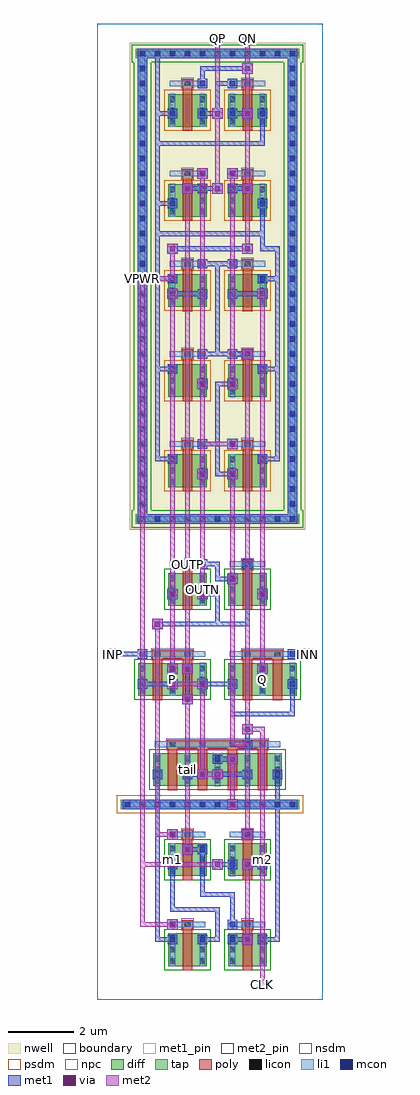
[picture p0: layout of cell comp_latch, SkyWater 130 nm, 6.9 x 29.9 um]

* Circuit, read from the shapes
.subckt comp_latch CLK INN INP OUTN OUTP P Q QN QP VGND VPWR m1 m2 tail
XM1 P INP tail VGND sky130_fd_pr__nfet_01v8 w=1 l=0.3 m=2
XM2 tail CLK VGND VGND sky130_fd_pr__nfet_01v8 w=1 l=0.3 m=4
XM3 m1 QN VGND VGND sky130_fd_pr__nfet_01v8 w=1 l=0.3
XM4 QP OUTN m1 VGND sky130_fd_pr__nfet_01v8 w=1 l=0.3
XM5 OUTN OUTP P VGND sky130_fd_pr__nfet_01v8 w=1 l=0.3
XM6 VGND QP m2 VGND sky130_fd_pr__nfet_01v8 w=1 l=0.3
XM7 m2 OUTP QN VGND sky130_fd_pr__nfet_01v8 w=1 l=0.3
XM8 Q INN tail VGND sky130_fd_pr__nfet_01v8 w=1 l=0.3 m=2
XM9 Q OUTN OUTP VGND sky130_fd_pr__nfet_01v8 w=1 l=0.3
XM10 OUTN OUTP VPWR VPWR sky130_fd_pr__pfet_01v8 w=1 l=0.3
XM11 OUTN CLK VPWR VPWR sky130_fd_pr__pfet_01v8 w=1 l=0.3
XM12 P CLK VPWR VPWR sky130_fd_pr__pfet_01v8 w=1 l=0.3
XM13 QP OUTN VPWR VPWR sky130_fd_pr__pfet_01v8 w=1 l=0.3
XM14 QP QN VPWR VPWR sky130_fd_pr__pfet_01v8 w=1 l=0.3
XM15 VPWR OUTN OUTP VPWR sky130_fd_pr__pfet_01v8 w=1 l=0.3
XM16 VPWR CLK OUTP VPWR sky130_fd_pr__pfet_01v8 w=1 l=0.3
XM17 VPWR CLK Q VPWR sky130_fd_pr__pfet_01v8 w=1 l=0.3
XM18 VPWR OUTP QN VPWR sky130_fd_pr__pfet_01v8 w=1 l=0.3
XM19 VPWR QP QN VPWR sky130_fd_pr__pfet_01v8 w=1 l=0.3
.ends

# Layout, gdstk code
import gdstk
lib = gdstk.Library(unit=1e-6, precision=1e-09)
def R(c, l, rs):  # rectangles x0, y0, x1, y1
    for r in rs: c.add(gdstk.rectangle(r[:2], r[2:], *l))
def A(c, l, x, y, w, h, nx, ny, dx, dy):  # array of equal rectangles
    R(c, l, [(x+i*dx, y+j*dy, x+i*dx+w, y+j*dy+h) for i in range(nx) for j in range(ny)])
nwell = (64, 20)
diff = (65, 20)
tap = (65, 44)
poly = (66, 20)
licon = (66, 44)
li1 = (67, 20)
mcon = (67, 44)
met1_pin = (68, 16)
met1 = (68, 20)
via = (68, 44)
met2_pin = (69, 16)
met2 = (69, 20)
nsdm = (93, 44)
psdm = (94, 20)
npc = (95, 20)
boundary = (235, 4)

comp_latch = lib.new_cell('comp_latch')
R(comp_latch, nwell, [(0.995,14.395,6.365,29.305)])
A(comp_latch, diff, 2.175, 15.7, 1.17, 1, 1, 5, 0, 2.76)
A(comp_latch, diff, 4.015, 15.7, 1.17, 1, 1, 5, 0, 2.76)
R(comp_latch, diff, [(2.175,1.025,3.345,2.025), (4.015,1.025,5.185,2.025), (2.175,3.785,3.345,4.785), (4.015,3.785,5.185,4.785), (1.715,6.545,5.645,7.545), (1.255,9.305,3.345,10.305), (4.015,9.305,6.105,10.305), (2.175,12.065,3.345,13.065), (4.015,12.065,5.185,13.065)])
R(comp_latch, tap, [(0.715,5.835,6.185,6.125), (1.175,14.575,6.185,14.865), (1.235,14.575,1.525,29.125), (5.835,14.575,6.125,29.125), (1.175,28.835,6.185,29.125)])
A(comp_latch, poly, 2.15, 6.415, 0.3, 1.405, 4, 1, 0.92, 0)
A(comp_latch, poly, 2.61, 15.57, 0.3, 1.45, 1, 5, 0, 2.76)
A(comp_latch, poly, 4.45, 15.57, 0.3, 1.45, 1, 5, 0, 2.76)
A(comp_latch, poly, 2.595, 16.885, 0.33, 0.27, 1, 5, 0, 2.76)
A(comp_latch, poly, 4.435, 16.885, 0.33, 0.27, 1, 5, 0, 2.76)
R(comp_latch, poly, [(2.61,0.895,2.91,2.3), (4.45,0.895,4.75,2.3), (2.595,2.165,2.925,2.435), (4.435,2.165,4.765,2.435), (2.61,3.655,2.91,5.06), (4.45,3.655,4.75,5.06), (2.595,4.925,2.925,5.195), (4.435,4.925,4.765,5.195), (2.135,7.685,5.225,7.955), (1.69,9.175,1.99,10.58), (2.61,9.175,2.91,10.58), (4.45,9.175,4.75,10.58), (5.37,9.175,5.67,10.58), (1.675,10.445,2.925,10.715), (4.435,10.445,5.685,10.715), (2.61,11.935,2.91,13.34), (4.45,11.935,4.75,13.34), (2.595,13.205,2.925,13.475), (4.435,13.205,4.765,13.475)])
A(comp_latch, licon, 2.215, 1.1, 0.17, 0.17, 4, 3, 0.92, 0.34)
A(comp_latch, licon, 2.215, 3.86, 0.17, 0.17, 4, 3, 0.92, 0.34)
A(comp_latch, licon, 0.835, 5.895, 0.17, 0.17, 12, 1, 0.46, 0)
A(comp_latch, licon, 1.755, 6.62, 0.17, 0.17, 5, 3, 0.92, 0.34)
A(comp_latch, licon, 2.215, 7.735, 0.17, 0.17, 4, 2, 0.92, 4.405)
A(comp_latch, licon, 1.295, 9.38, 0.17, 0.17, 6, 3, 0.92, 0.34)
A(comp_latch, licon, 2.215, 12.48, 0.17, 0.17, 4, 2, 0.92, 0.34)
A(comp_latch, licon, 1.295, 14.635, 0.17, 0.17, 11, 2, 0.46, 14.26)
A(comp_latch, licon, 1.295, 15.095, 0.17, 0.17, 1, 30, 0, 0.46)
A(comp_latch, licon, 5.895, 15.095, 0.17, 0.17, 1, 30, 0, 0.46)
A(comp_latch, licon, 2.215, 15.775, 0.17, 0.17, 4, 3, 0.92, 0.34)
A(comp_latch, licon, 2.675, 16.935, 0.17, 0.17, 1, 5, 0, 2.76)
A(comp_latch, licon, 4.515, 16.935, 0.17, 0.17, 1, 5, 0, 2.76)
A(comp_latch, licon, 2.215, 18.535, 0.17, 0.17, 4, 3, 0.92, 0.34)
A(comp_latch, licon, 2.215, 21.295, 0.17, 0.17, 4, 3, 0.92, 0.34)
A(comp_latch, licon, 2.215, 24.055, 0.17, 0.17, 4, 3, 0.92, 0.34)
A(comp_latch, licon, 2.215, 26.815, 0.17, 0.17, 4, 3, 0.92, 0.34)
R(comp_latch, licon, [(2.675,2.215,2.845,2.385), (4.515,2.215,4.685,2.385), (2.675,4.975,2.845,5.145), (4.515,4.975,4.685,5.145), (1.755,10.495,1.925,10.665), (2.675,10.495,2.845,10.665), (4.515,10.495,4.685,10.665), (5.435,10.495,5.605,10.665), (2.675,13.255,2.845,13.425), (4.515,13.255,4.685,13.425)])
A(comp_latch, li1, 2.215, 1.02, 0.17, 1.01, 4, 2, 0.92, 2.76)
A(comp_latch, li1, 1.755, 6.54, 0.17, 1.01, 5, 1, 0.92, 0)
A(comp_latch, li1, 1.295, 9.3, 0.17, 1.01, 6, 1, 0.92, 0)
A(comp_latch, li1, 2.215, 12.06, 0.17, 1.01, 4, 2, 0.92, 3.635)
A(comp_latch, li1, 2.215, 16.935, 1.09, 0.17, 1, 5, 0, 2.76)
A(comp_latch, li1, 4.055, 16.935, 1.09, 0.17, 1, 5, 0, 2.76)
A(comp_latch, li1, 2.215, 18.455, 0.17, 1.01, 4, 4, 0.92, 2.76)
R(comp_latch, li1, [(2.215,2.215,3.305,2.385), (4.055,2.215,5.145,2.385), (2.215,4.975,3.305,5.145), (4.055,4.975,5.145,5.145), (0.755,5.895,6.145,6.065), (1.755,7.735,5.605,7.905), (1.295,10.495,3.305,10.665), (4.055,10.495,6.065,10.665), (2.215,13.255,3.305,13.425), (4.055,13.255,5.145,13.425), (1.215,14.635,6.145,14.805), (1.295,14.635,1.465,29.065), (5.895,14.635,6.065,29.065), (1.215,28.895,6.145,29.065)])
A(comp_latch, mcon, 2.215, 1.755, 0.17, 0.17, 4, 1, 0.92, 0)
A(comp_latch, mcon, 0.835, 5.895, 0.17, 0.17, 12, 1, 0.46, 0)
A(comp_latch, mcon, 4.055, 9.575, 0.17, 0.17, 1, 3, 0, 3.22)
A(comp_latch, mcon, 1.295, 14.635, 0.17, 0.17, 11, 2, 0.46, 14.26)
A(comp_latch, mcon, 1.295, 15.095, 0.17, 0.17, 1, 26, 0, 0.46)
A(comp_latch, mcon, 5.895, 15.095, 0.17, 0.17, 1, 26, 0, 0.46)
A(comp_latch, mcon, 2.215, 16.475, 0.17, 0.17, 1, 3, 0, 2.76)
A(comp_latch, mcon, 4.975, 16.475, 0.17, 0.17, 1, 3, 0, 2.76)
A(comp_latch, mcon, 1.295, 27.055, 0.17, 0.17, 6, 1, 0.92, 0)
A(comp_latch, mcon, 1.295, 27.515, 0.17, 0.17, 1, 3, 0, 0.46)
A(comp_latch, mcon, 5.895, 27.515, 0.17, 0.17, 1, 3, 0, 0.46)
R(comp_latch, mcon, [(2.215,2.215,2.385,2.385), (4.055,2.215,4.225,2.385), (2.215,4.055,2.385,4.225), (4.055,4.055,4.225,4.225), (4.975,4.055,5.145,4.225), (3.135,4.515,3.305,4.685), (2.215,4.975,2.385,5.145), (4.515,4.975,4.685,5.145), (1.755,6.815,1.925,6.985), (2.675,6.815,2.845,6.985), (4.515,6.815,4.685,6.985), (5.435,6.815,5.605,6.985), (3.595,7.275,3.765,7.445), (4.515,7.735,4.685,7.905), (1.295,9.575,1.465,9.745), (3.135,9.575,3.305,9.745), (5.895,9.575,6.065,9.745), (2.215,10.035,2.385,10.205), (4.975,10.035,5.145,10.205), (1.295,10.495,1.465,10.665), (5.895,10.495,6.065,10.665), (2.215,12.335,2.385,12.505), (3.135,12.335,3.305,12.505), (4.975,12.335,5.145,12.505), (3.135,13.255,3.305,13.425), (4.515,13.255,4.685,13.425), (3.135,16.015,3.305,16.185), (3.135,16.935,3.305,17.105), (4.055,16.935,4.225,17.105), (3.135,18.775,3.305,18.945), (4.055,18.775,4.225,18.945), (3.135,19.695,3.305,19.865), (4.055,19.695,4.225,19.865), (3.135,21.535,3.305,21.705), (4.055,21.535,4.225,21.705), (3.135,22.455,3.305,22.625), (4.055,22.455,4.225,22.625), (2.215,24.295,2.385,24.465), (4.975,24.295,5.145,24.465), (3.135,24.755,3.305,24.925), (4.055,24.755,4.225,24.925), (3.135,25.215,3.305,25.385), (4.055,25.215,4.225,25.385), (3.135,27.975,3.305,28.145), (4.055,27.975,4.225,28.145)])
R(comp_latch, met1_pin, [(1.77,1.77,1.91,6.05), (1.31,22.01,1.45,22.15)])
A(comp_latch, met1, 2.155, 1.695, 0.29, 0.29, 4, 2, 0.92, 25.3)
A(comp_latch, met1, 3.15, 1.77, 0.6, 0.14, 3, 1, 0.92, 0)
A(comp_latch, met1, 3.06, 6.74, 0.32, 0.32, 1, 3, 0, 2.76)
A(comp_latch, met1, 3.995, 9.515, 0.29, 0.29, 1, 3, 0, 3.22)
A(comp_latch, met1, 2.155, 16.415, 0.29, 0.29, 1, 3, 0, 2.76)
A(comp_latch, met1, 4.915, 16.415, 0.29, 0.29, 1, 3, 0, 2.76)
A(comp_latch, met1, 4.99, 16.49, 0.6, 0.14, 1, 3, 0, 2.76)
A(comp_latch, met1, 3.15, 22.47, 0.6, 0.14, 1, 3, 0, 2.3)
A(comp_latch, met1, 2.6, 24.68, 0.32, 0.32, 3, 1, 0.92, 0)
R(comp_latch, met1, [(4.44,1.68,4.76,2), (1.77,1.77,2.37,1.91), (1.77,1.77,1.91,6.05), (3.61,1.77,3.75,2.83), (5.45,1.77,5.59,6.05), (2.14,2.14,2.46,2.46), (2.155,2.155,2.445,2.445), (3.995,2.155,4.285,2.445), (4.07,2.23,4.21,3.29), (2.23,2.69,3.75,2.83), (2.23,2.69,2.37,4.21), (3.15,3.15,4.21,3.29), (3.15,3.15,3.29,4.67), (3.52,3.98,3.84,4.3), (4.44,3.98,4.76,4.3), (2.155,3.995,2.445,4.285), (3.995,3.995,4.285,4.285), (4.915,3.995,5.205,4.285), (3.61,4.07,4.21,4.21), (4.53,4.07,5.13,4.21), (2.6,4.44,2.92,4.76), (3.075,4.455,3.365,4.745), (2.69,4.53,3.29,4.67), (2.14,4.9,2.46,5.22), (4.44,4.9,4.76,5.22), (2.155,4.915,2.445,5.205), (4.455,4.915,4.745,5.205), (3.98,5.82,4.3,6.14), (0.775,5.835,6.125,6.125), (1.77,5.91,1.91,6.97), (1.77,5.91,4.21,6.05), (4.07,5.91,4.21,6.05), (4.07,5.91,5.59,6.05), (5.45,5.91,5.59,6.97), (3.52,6.74,3.84,7.06), (1.695,6.755,1.985,7.045), (2.615,6.755,2.905,7.045), (4.455,6.755,4.745,7.045), (5.375,6.755,5.665,7.045), (2.69,6.83,3.29,6.97), (3.61,6.83,4.67,6.97), (3.98,7.2,4.3,7.52), (3.535,7.215,3.825,7.505), (3.61,7.29,4.21,7.43), (4.455,7.675,4.745,7.965), (4.53,7.75,4.67,8.35), (4.44,8.12,4.76,8.44), (4.07,8.67,4.21,9.73), (4.07,8.67,6.05,8.81), (5.91,8.67,6.05,9.73), (2.6,9.04,2.92,9.36), (2.69,9.13,2.83,10.19), (2.14,9.5,2.46,9.82), (1.235,9.515,1.525,9.805), (3.075,9.515,3.365,9.805), (5.835,9.515,6.125,9.805), (1.31,9.59,2.37,9.73), (3.15,9.59,4.21,9.73), (2.14,9.96,2.46,10.28), (2.6,9.96,2.92,10.28), (4.9,9.96,5.22,10.28), (2.155,9.975,2.445,10.265), (4.915,9.975,5.205,10.265), (0.3,10.42,0.62,10.74), (6.28,10.42,6.6,10.74), (1.235,10.435,1.525,10.725), (5.835,10.435,6.125,10.725), (0.39,10.51,1.45,10.65), (5.91,10.51,6.51,10.65), (1.68,11.34,2,11.66), (1.77,11.43,3.75,11.57), (3.61,11.43,4.67,11.57), (3.61,11.43,3.75,12.49), (4.53,11.43,4.67,13.41), (2.14,12.26,2.46,12.58), (4.9,12.26,5.22,12.58), (2.155,12.275,2.445,12.565), (3.075,12.275,3.365,12.565), (4.915,12.275,5.205,12.565), (3.15,12.35,3.75,12.49), (3.98,12.72,4.3,13.04), (3.61,12.81,4.21,12.95), (3.61,12.81,3.75,13.41), (3.075,13.195,3.365,13.485), (4.455,13.195,4.745,13.485), (3.15,13.27,3.75,13.41), (1.235,14.575,1.525,29.125), (1.235,14.575,6.125,14.865), (5.835,14.575,6.125,29.125), (3.06,15.94,3.38,16.26), (3.98,15.94,4.3,16.26), (3.075,15.955,3.365,16.245), (3.61,16.03,4.21,16.17), (3.61,16.03,3.75,17.09), (1.77,16.49,2.37,16.63), (1.77,16.49,1.91,19.39), (5.45,16.49,5.59,19.39), (3.98,16.86,4.3,17.18), (3.075,16.875,3.365,17.165), (3.995,16.875,4.285,17.165), (3.15,16.95,3.75,17.09), (3.61,16.95,3.75,18.93), (3.06,18.7,3.38,19.02), (3.98,18.7,4.3,19.02), (3.075,18.715,3.365,19.005), (3.995,18.715,4.285,19.005), (3.61,18.79,4.21,18.93), (1.77,19.25,2.37,19.39), (1.77,19.25,1.91,22.15), (5.45,19.25,5.59,22.15), (4.44,19.62,4.76,19.94), (3.075,19.635,3.365,19.925), (3.995,19.635,4.285,19.925), (3.15,19.71,4.21,19.85), (3.61,19.71,3.75,22.61), (4.07,19.71,4.67,19.85), (2.14,21.46,2.46,21.78), (4.9,21.46,5.22,21.78), (3.075,21.475,3.365,21.765), (3.995,21.475,4.285,21.765), (2.23,21.55,3.29,21.69), (4.07,21.55,5.13,21.69), (1.31,22.01,2.37,22.15), (1.31,22.01,1.45,22.15), (1.77,22.01,1.91,24.45), (5.45,22.01,5.59,23.07), (3.075,22.395,3.365,22.685), (3.995,22.395,4.285,22.685), (3.61,22.47,4.21,22.61), (2.14,22.84,2.46,23.16), (4.44,22.84,4.76,23.16), (2.23,22.93,4.67,23.07), (4.99,22.93,5.59,23.07), (4.99,22.93,5.13,23.53), (1.77,23.39,5.13,23.53), (4.99,23.39,5.13,24.45), (2.155,24.235,2.445,24.525), (4.915,24.235,5.205,24.525), (1.77,24.31,2.37,24.45), (1.77,24.31,1.91,27.21), (3.075,24.695,3.365,24.985), (3.995,24.695,4.285,24.985), (2.69,24.77,3.29,24.91), (4.07,24.77,4.67,24.91), (3.06,25.14,3.38,25.46), (3.98,25.14,4.3,25.46), (3.075,25.155,3.365,25.445), (3.995,25.155,4.285,25.445), (1.77,26.15,5.13,26.29), (4.99,26.15,5.13,27.21), (3.52,26.98,3.84,27.3), (4.44,26.98,4.76,27.3), (1.77,27.07,2.37,27.21), (1.77,27.07,1.91,29.05), (3.61,27.07,3.75,28.13), (4.07,27.07,4.67,27.21), (3.075,27.915,3.365,28.205), (3.995,27.915,4.285,28.205), (3.15,27.99,3.29,28.59), (3.61,27.99,4.21,28.13), (4.44,28.36,4.76,28.68), (3.15,28.45,4.67,28.59), (1.235,28.835,6.125,29.125), (1.77,28.91,1.91,29.05)])
A(comp_latch, via, 3.145, 6.825, 0.15, 0.15, 1, 3, 0, 2.76)
A(comp_latch, via, 2.685, 24.765, 0.15, 0.15, 3, 1, 0.92, 0)
R(comp_latch, via, [(4.525,1.765,4.675,1.915), (2.225,2.225,2.375,2.375), (3.605,4.065,3.755,4.215), (4.525,4.065,4.675,4.215), (2.685,4.525,2.835,4.675), (2.225,4.985,2.375,5.135), (4.525,4.985,4.675,5.135), (4.065,5.905,4.215,6.055), (3.605,6.825,3.755,6.975), (4.065,7.285,4.215,7.435), (4.525,8.205,4.675,8.355), (2.685,9.125,2.835,9.275), (2.225,9.585,2.375,9.735), (2.225,10.045,2.375,10.195), (2.685,10.045,2.835,10.195), (4.985,10.045,5.135,10.195), (0.385,10.505,0.535,10.655), (6.365,10.505,6.515,10.655), (1.765,11.425,1.915,11.575), (2.225,12.345,2.375,12.495), (4.985,12.345,5.135,12.495), (4.065,12.805,4.215,12.955), (3.145,16.025,3.295,16.175), (4.065,16.025,4.215,16.175), (4.065,16.945,4.215,17.095), (3.145,18.785,3.295,18.935), (4.065,18.785,4.215,18.935), (4.525,19.705,4.675,19.855), (2.225,21.545,2.375,21.695), (4.985,21.545,5.135,21.695), (2.225,22.925,2.375,23.075), (4.525,22.925,4.675,23.075), (3.145,25.225,3.295,25.375), (4.065,25.225,4.215,25.375), (3.605,27.065,3.755,27.215), (4.525,27.065,4.675,27.215), (4.525,28.445,4.675,28.595)])
R(comp_latch, met2_pin, [(4.91,0.31,5.21,0.61), (0.31,10.43,0.61,10.73), (6.29,10.43,6.59,10.73), (3.53,29.29,3.83,29.59), (4.45,29.29,4.75,29.59)])
A(comp_latch, met2, 3.06, 6.74, 0.32, 0.32, 1, 3, 0, 2.76)
A(comp_latch, met2, 2.6, 24.68, 0.32, 0.32, 3, 1, 0.92, 0)
R(comp_latch, met2, [(4.91,0.31,5.21,0.61), (4.99,0.39,5.13,0.53), (4.99,0.39,5.13,8.35), (4.44,1.68,4.76,2), (4.53,1.77,4.67,4.21), (2.14,2.14,2.46,2.46), (1.31,2.23,2.37,2.37), (1.31,2.23,1.45,22.15), (3.52,3.98,3.84,4.3), (4.44,3.98,4.76,4.3), (1.31,4.07,3.75,4.21), (2.6,4.44,2.92,4.76), (2.69,4.53,2.83,9.27), (2.14,4.9,2.46,5.22), (4.44,4.9,4.76,5.22), (1.77,4.99,2.37,5.13), (1.77,4.99,1.91,11.57), (4.53,4.99,4.67,7.89), (3.98,5.82,4.3,6.14), (4.07,5.91,4.21,7.43), (3.52,6.74,3.84,7.06), (3.15,6.83,3.75,6.97), (3.15,6.83,3.29,9.73), (3.98,7.2,4.3,7.52), (4.07,7.75,4.67,7.89), (4.07,7.75,4.21,12.95), (4.44,8.12,4.76,8.44), (4.53,8.21,5.13,8.35), (4.53,8.21,4.67,19.85), (2.6,9.04,2.92,9.36), (2.14,9.5,2.46,9.82), (2.23,9.59,3.29,9.73), (2.14,9.96,2.46,10.28), (2.6,9.96,2.92,10.28), (4.9,9.96,5.22,10.28), (2.23,10.05,2.37,12.49), (2.69,10.05,2.83,24.91), (4.99,10.05,5.13,12.49), (0.3,10.42,0.62,10.74), (6.28,10.42,6.6,10.74), (0.31,10.43,0.61,10.73), (6.29,10.43,6.59,10.73), (0.39,10.51,0.53,10.65), (6.37,10.51,6.51,10.65), (1.68,11.34,2,11.66), (2.14,12.26,2.46,12.58), (4.9,12.26,5.22,12.58), (2.23,12.35,2.37,21.69), (3.15,12.35,3.29,16.17), (4.99,12.35,5.13,21.69), (3.98,12.72,4.3,13.04), (4.07,12.81,4.21,16.17), (3.06,15.94,3.38,16.26), (3.98,15.94,4.3,16.26), (3.15,16.03,3.29,17.09), (3.98,16.86,4.3,17.18), (3.15,16.95,4.21,17.09), (3.15,16.95,3.29,18.93), (3.06,18.7,3.38,19.02), (3.98,18.7,4.3,19.02), (3.15,18.79,3.29,25.37), (4.07,18.79,4.21,25.37), (4.44,19.62,4.76,19.94), (2.14,21.46,2.46,21.78), (4.9,21.46,5.22,21.78), (1.31,22.01,2.37,22.15), (2.23,22.01,2.37,23.07), (2.14,22.84,2.46,23.16), (4.44,22.84,4.76,23.16), (4.53,22.93,4.67,24.91), (3.61,24.77,3.75,27.21), (4.53,24.77,4.67,27.21), (3.06,25.14,3.38,25.46), (3.98,25.14,4.3,25.46), (3.52,26.98,3.84,27.3), (4.44,26.98,4.76,27.3), (3.61,27.07,3.75,29.51), (4.53,27.07,4.67,29.51), (4.44,28.36,4.76,28.68), (3.53,29.29,3.83,29.59), (4.45,29.29,4.75,29.59), (3.61,29.37,3.75,29.51), (4.53,29.37,4.67,29.51)])
R(comp_latch, nsdm, [(2.05,0.9,3.47,2.15), (3.89,0.9,5.31,2.15), (2.05,3.66,3.47,4.91), (3.89,3.66,5.31,4.91), (1.59,6.42,5.77,7.67), (1.13,9.18,3.47,10.43), (3.89,9.18,6.23,10.43), (2.05,11.94,3.47,13.19), (3.89,11.94,5.31,13.19), (1.05,14.45,6.31,14.99), (1.11,14.99,1.65,28.71), (5.71,14.99,6.25,28.71), (1.05,28.71,6.31,29.25)])
A(comp_latch, psdm, 2.05, 15.575, 1.42, 1.25, 1, 5, 0, 2.76)
A(comp_latch, psdm, 3.89, 15.575, 1.42, 1.25, 1, 5, 0, 2.76)
R(comp_latch, psdm, [(0.59,5.71,6.31,6.25)])
A(comp_latch, npc, 2.575, 16.835, 0.37, 0.37, 1, 5, 0, 2.76)
A(comp_latch, npc, 4.415, 16.835, 0.37, 0.37, 1, 5, 0, 2.76)
R(comp_latch, npc, [(2.575,2.115,2.945,2.485), (4.415,2.115,4.785,2.485), (2.575,4.875,2.945,5.245), (4.415,4.875,4.785,5.245), (2.115,7.635,5.245,8.005), (1.655,10.395,2.945,10.765), (4.415,10.395,5.705,10.765), (2.575,13.155,2.945,13.525), (4.415,13.155,4.785,13.525)])
R(comp_latch, boundary, [(0,0,6.9,29.9)])
comp_latch.add(gdstk.Label('tail', (2.76,7.045), layer=67, texttype=5))
comp_latch.add(gdstk.Label('P', (2.3,9.805), layer=67, texttype=5))
comp_latch.add(gdstk.Label('Q', (5.06,9.805), layer=67, texttype=5))
comp_latch.add(gdstk.Label('OUTP', (2.76,13.34), layer=67, texttype=5))
comp_latch.add(gdstk.Label('OUTN', (3.22,12.565), layer=67, texttype=5))
comp_latch.add(gdstk.Label('m1', (2.3,4.285), layer=67, texttype=5))
comp_latch.add(gdstk.Label('m2', (5.06,4.285), layer=67, texttype=5))
comp_latch.add(gdstk.Label('VPWR', (1.38,22.08), layer=68, texttype=5))
comp_latch.add(gdstk.Label('VGND', (1.84,3.91), layer=68, texttype=5))
comp_latch.add(gdstk.Label('CLK', (5.06,0.46), layer=69, texttype=5))
comp_latch.add(gdstk.Label('INP', (0.46,10.58), layer=69, texttype=5))
comp_latch.add(gdstk.Label('INN', (6.44,10.58), layer=69, texttype=5))
comp_latch.add(gdstk.Label('QP', (3.68,29.44), layer=69, texttype=5))
comp_latch.add(gdstk.Label('QN', (4.6,29.44), layer=69, texttype=5))
comp_latch.add(gdstk.Label('VPWR', (1.38,22.08), layer=68, texttype=16))
comp_latch.add(gdstk.Label('VGND', (1.84,3.91), layer=68, texttype=16))
comp_latch.add(gdstk.Label('CLK', (5.06,0.46), layer=69, texttype=16))
comp_latch.add(gdstk.Label('INP', (0.46,10.58), layer=69, texttype=16))
comp_latch.add(gdstk.Label('INN', (6.44,10.58), layer=69, texttype=16))
comp_latch.add(gdstk.Label('QP', (3.68,29.44), layer=69, texttype=16))
comp_latch.add(gdstk.Label('QN', (4.6,29.44), layer=69, texttype=16))

lib.write_gds('comp_latch.gds')
